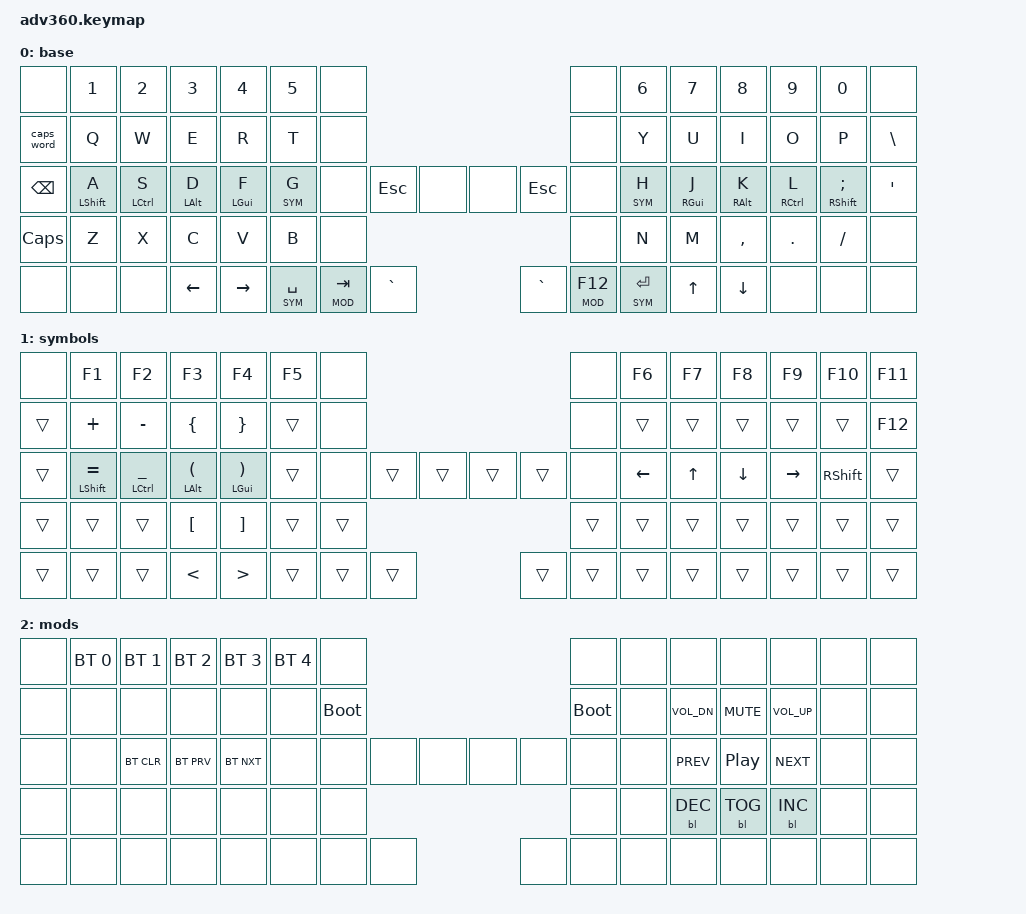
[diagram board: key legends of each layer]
#include <behaviors.dtsi>
#include <dt-bindings/zmk/keys.h>
#include <dt-bindings/zmk/bt.h>
#include <dt-bindings/zmk/backlight.h>

#include "../zmk-nodefree-config/helper.h"
#include "keypos_360.h"

#define TAPPING_TERM_MS 175
#define QUICK_TAP_MS 130

#define MAKE_HRM(NAME, HOLD, TAP, TRIGGER_POS) \
    ZMK_BEHAVIOR(NAME, hold_tap, \
        flavor = "balanced"; \
        tapping-term-ms = <TAPPING_TERM_MS>; \
        quick-tap-ms = <QUICK_TAP_MS>; \
        global-quick-tap; \
        bindings = <HOLD>, <TAP>; \
        hold-trigger-key-positions = <TRIGGER_POS>; \
        hold-trigger-on-release; \
    )
MAKE_HRM(hml, &kp, &kp, KEYS_R THUMBS)  // left-hand HRMs
MAKE_HRM(hmr, &kp, &kp, KEYS_L THUMBS)  // right-hand HRMs

#define BAS 0
#define SYM 1
#define MOD 2

#define XXX &none
#define ___ &trans


ZMK_LAYER(base,
//╭───────────────┬───────────────┬───────────────┬───────────────┬───────────────┬───────────────┬───────────────╮                                                                           ╭───────────────┬───────────────┬───────────────┬───────────────┬───────────────┬───────────────┬───────────────╮
    XXX             &kp N1          &kp N2          &kp N3          &kp N4          &kp N5          XXX                                                                                         XXX             &kp N6          &kp N7          &kp N8          &kp N9          &kp N0          XXX
//├───────────────┼───────────────┼───────────────┼───────────────┼───────────────┼───────────────┼───────────────┤                                                                           ├───────────────┼───────────────┼───────────────┼───────────────┼───────────────┼───────────────┼───────────────┤
    &caps_word      &kp Q           &kp W           &kp E           &kp R           &kp T           XXX                                                                                         XXX             &kp Y           &kp U           &kp I           &kp O           &kp P           &kp BSLH
//├───────────────┼───────────────┼───────────────┼───────────────┼───────────────┼───────────────┼───────────────┤    ╭───────────────┬───────────────╮ ╭───────────────┬───────────────╮    ├───────────────┼───────────────┼───────────────┼───────────────┼───────────────┼───────────────┼───────────────┤
    &kp BSPC        &hml LSHFT A    &hml LCTRL S    &hml LALT D     &hml LGUI F     &lt SYM G       XXX                  &kp ESC         XXX               XXX             &kp ESC              XXX             &lt SYM H       &hmr RGUI J     &hmr RALT K     &hmr RCTRL L    &hmr RSHFT SEMI  &kp SQT
//├───────────────┼───────────────┼───────────────┼───────────────┼───────────────┼───────────────┼───────────────╯    ╰───────────────┼───────────────┤ ├───────────────┼───────────────╯    ╰───────────────┼───────────────┼───────────────┼───────────────┼───────────────┼───────────────┼───────────────┤
    &kp CAPSLOCK    &kp Z           &kp X           &kp C           &kp V           &kp B                                                XXX               XXX                                                  &kp N           &kp M           &kp COMMA       &kp DOT         &kp FSLH        XXX
//├───────────────┼───────────────┼───────────────┼───────────────┼───────────────┼───────────────╯    ╭───────────────┬───────────────┼───────────────┤ ├───────────────┼───────────────┬───────────────╮    ╰───────────────┼───────────────┼───────────────┼───────────────┼───────────────┼───────────────┤
    XXX             XXX             XXX             &kp LEFT        &kp RIGHT                            &lt SYM SPACE   &lt MOD TAB     &kp GRAVE         &kp GRAVE       &lt MOD F12     &lt SYM ENTER                        &kp UP          &kp DOWN        XXX             XXX             XXX
//╰───────────────┴───────────────┴───────────────┴───────────────┴───────────────╯                    ╰───────────────┴───────────────┴───────────────╯ ╰───────────────┴───────────────┴───────────────╯                    ╰───────────────┴───────────────┴───────────────┴───────────────┴───────────────╯
)

ZMK_LAYER(symbols,
//╭───────────────┬──────────────────┬─────────────────────┬─────────────────┬─────────────────┬───────────────┬───────────────╮                                                                           ╭───────────────┬───────────────┬───────────────┬───────────────┬───────────────┬───────────────┬───────────────╮
    XXX             &kp F1             &kp F2                &kp F3            &kp F4            &kp F5          XXX                                                                                         XXX             &kp F6          &kp F7          &kp F8          &kp F9          &kp F10         &kp F11
//├───────────────┼──────────────────┼─────────────────────┼─────────────────┼─────────────────┼───────────────┼───────────────┤                                                                           ├───────────────┼───────────────┼───────────────┼───────────────┼───────────────┼───────────────┼───────────────┤
    ___             &kp PLUS           &kp MINUS             &kp LBRC          &kp RBRC          ___             XXX                                                                                         XXX             ___             ___             ___             ___             ___             &kp F12
//├───────────────┼──────────────────┼─────────────────────┼─────────────────┼─────────────────┼───────────────┼───────────────┤    ╭───────────────┬───────────────╮ ╭───────────────┬───────────────╮    ├───────────────┼───────────────┼───────────────┼───────────────┼───────────────┼───────────────┼───────────────┤
    ___             &hml LSHFT EQUAL   &hml LCTRL UNDERSCORE &hml LALT LPAR    &hml LGUI RPAR    ___             XXX                  ___             ___               ___             ___                  XXX             &kp LEFT        &kp UP          &kp DOWN        &kp RIGHT       &kp RSHFT       ___
//├───────────────┼──────────────────┼─────────────────────┼─────────────────┼─────────────────┼───────────────┼───────────────╯    ╰───────────────┼───────────────┤ ├───────────────┼───────────────╯    ╰───────────────┼───────────────┼───────────────┼───────────────┼───────────────┼───────────────┼───────────────┤
    ___             ___                ___                   &kp LBKT          &kp RBKT           ___                                                  ___               ___                                                  ___             ___             ___             ___             ___             ___
//├───────────────┼──────────────────┼─────────────────────┼─────────────────┼─────────────────┼───────────────╯    ╭───────────────┬───────────────┼───────────────┤ ├───────────────┼───────────────┬───────────────╮    ╰───────────────┼───────────────┼───────────────┼───────────────┼───────────────┼───────────────┤
    ___             ___                ___                   &kp LT            &kp GT                                 ___             ___             ___               ___             ___             ___                                  ___             ___             ___             ___             ___
//╰───────────────┴──────────────────┴─────────────────────┴─────────────────┴─────────────────╯                    ╰───────────────┴───────────────┴───────────────╯ ╰───────────────┴───────────────┴───────────────╯                    ╰───────────────┴───────────────┴───────────────┴───────────────┴───────────────╯
)


//ZMK_LAYER(symbols,
//╭───────────────┬───────────────┬───────────────┬───────────────┬───────────────┬───────────────┬───────────────╮                                                                           ╭───────────────┬───────────────┬───────────────┬───────────────┬───────────────┬───────────────┬───────────────╮
//  XXX             &kp F1          &kp F2          &kp F3          &kp F4          &kp F5          XXX                                                                                         XXX             &kp F6          &kp F7          &kp F8          &kp F9          &kp F10         &kp F11
//├───────────────┼───────────────┼───────────────┼───────────────┼───────────────┼───────────────┼───────────────┤                                                                           ├───────────────┼───────────────┼───────────────┼───────────────┼───────────────┼───────────────┼───────────────┤
//  ___             &kp PLUS        &kp MINUS       &kp LBRC        &kp RBRC        ___             XXX                                                                                         XXX             ___             ___             ___             ___             ___             &kp F12
//├───────────────┼───────────────┼───────────────┼───────────────┼───────────────┼───────────────┼───────────────┤    ╭───────────────┬───────────────╮ ╭───────────────┬───────────────╮    ├───────────────┼───────────────┼───────────────┼───────────────┼───────────────┼───────────────┼───────────────┤
//  ___             &kp EQUAL       &kp UNDERSCORE  &kp LPAR        &kp RPAR        ___             XXX                  ___             ___               ___             ___                  XXX             ___             &kp RGUI        &kp RALT        &kp RCTRL       &kp RSHFT       ___
//├───────────────┼───────────────┼───────────────┼───────────────┼───────────────┼───────────────┼───────────────╯    ╰───────────────┼───────────────┤ ├───────────────┼───────────────╯    ╰───────────────┼───────────────┼───────────────┼───────────────┼───────────────┼───────────────┼───────────────┤
//  ___             ___             ___             &kp LBKT        &kp RBKT        ___                                                  ___               ___                                                  ___             ___             ___             ___             ___             ___
//├───────────────┼───────────────┼───────────────┼───────────────┼───────────────┼───────────────╯    ╭───────────────┬───────────────┼───────────────┤ ├───────────────┼───────────────┬───────────────╮    ╰───────────────┼───────────────┼───────────────┼───────────────┼───────────────┼───────────────┤
//  ___             ___             ___             &kp LT          &kp GT                               ___             ___             ___               ___             ___             ___                                  ___             ___             ___             ___             ___
//╰───────────────┴───────────────┴───────────────┴───────────────┴───────────────╯                    ╰───────────────┴───────────────┴───────────────╯ ╰───────────────┴───────────────┴───────────────╯                    ╰───────────────┴───────────────┴───────────────┴───────────────┴───────────────╯
//)


ZMK_LAYER(mods,
//╭───────────────┬───────────────┬───────────────┬───────────────┬───────────────┬───────────────┬───────────────╮                                                                           ╭───────────────┬───────────────┬───────────────┬───────────────┬───────────────┬───────────────┬───────────────╮
    XXX             &bt BT_SEL 0    &bt BT_SEL 1    &bt BT_SEL 2    &bt BT_SEL 3    &bt BT_SEL 4    XXX                                                                                         XXX             XXX             XXX             XXX             XXX             XXX             XXX
//├───────────────┼───────────────┼───────────────┼───────────────┼───────────────┼───────────────┼───────────────┤                                                                           ├───────────────┼───────────────┼───────────────┼───────────────┼───────────────┼───────────────┼───────────────┤
    XXX             XXX             XXX             XXX             XXX             XXX             &bootloader                                                                                 &bootloader     XXX             &kp C_VOL_DN    &kp C_MUTE      &kp C_VOL_UP    XXX             XXX
//├───────────────┼───────────────┼───────────────┼───────────────┼───────────────┼───────────────┼───────────────┤    ╭───────────────┬───────────────╮ ╭───────────────┬───────────────╮    ├───────────────┼───────────────┼───────────────┼───────────────┼───────────────┼───────────────┼───────────────┤
    XXX             XXX             &bt BT_CLR      &bt BT_PRV      &bt BT_NXT      XXX             XXX                  XXX             XXX               XXX             XXX                  XXX             XXX             &kp C_PREV      &kp C_PP        &kp C_NEXT      XXX             XXX
//├───────────────┼───────────────┼───────────────┼───────────────┼───────────────┼───────────────┼───────────────╯    ╰───────────────┼───────────────┤ ├───────────────┼───────────────╯    ╰───────────────┼───────────────┼───────────────┼───────────────┼───────────────┼───────────────┼───────────────┤
    XXX             XXX             XXX             XXX             XXX             XXX                                                  XXX               XXX                                                  XXX             &bl BL_DEC      &bl BL_TOG      &bl BL_INC      XXX             XXX
//├───────────────┼───────────────┼───────────────┼───────────────┼───────────────┼───────────────╯    ╭───────────────┬───────────────┼───────────────┤ ├───────────────┼───────────────┬───────────────╮    ╰───────────────┼───────────────┼───────────────┼───────────────┼───────────────┼───────────────┤
    XXX             XXX             XXX             XXX             XXX                                  XXX             XXX             XXX               XXX             XXX             XXX                                  XXX             XXX             XXX             XXX             XXX
//╰───────────────┴───────────────┴───────────────┴───────────────┴───────────────╯                    ╰───────────────┴───────────────┴───────────────╯ ╰───────────────┴───────────────┴───────────────╯                    ╰───────────────┴───────────────┴───────────────┴───────────────┴───────────────╯
)

